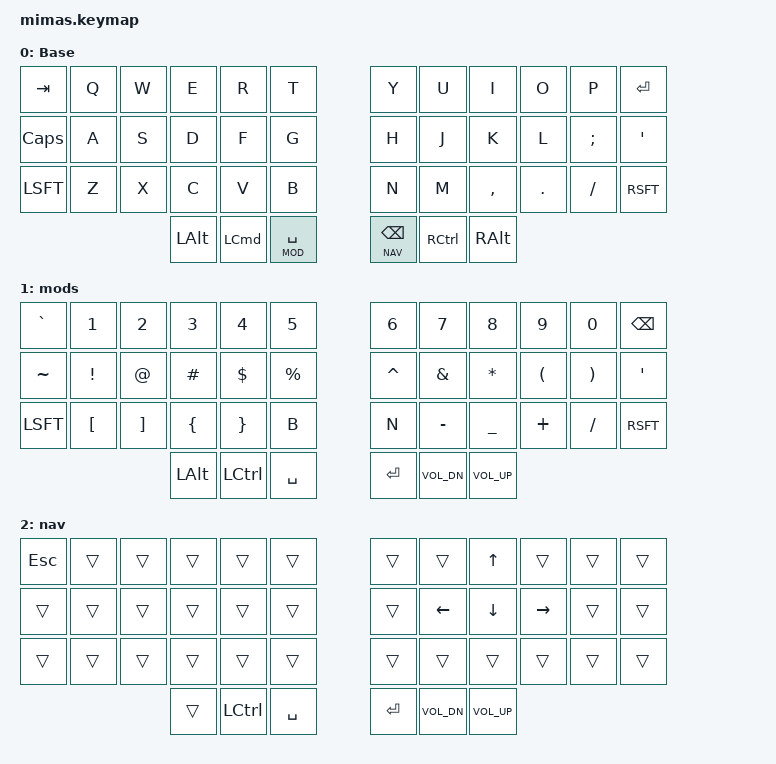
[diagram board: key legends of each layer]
#include <behaviors.dtsi>
#include <dt-bindings/zmk/keys.h>
#include <dt-bindings/zmk/bt.h>
#include <dt-bindings/zmk/outputs.h>

#define DEFAULT 0
#define MOD     1
#define NAV     2

/ {
     
        keymap {
                compatible = "zmk,keymap";

                default_layer {
// ┏━━━━━━━━━━━━━━━━━━━━━━━━━━━━━━━━━━━━━━━┓
display-name = "Base"                      ;
// ┗━━━━━━━━━━━━━━━━━━━━━━━━━━━━━━━━━━━━━━━┛
// ┏━━━━━━━━━━━┳━━━━━━━━━━━┳━━━━━━━━━━━┳━━━━━━━━━━━┳━━━━━━━━━━━┳━━━━━━━━━━━┓   ┏━━━━━━━━━━━┳━━━━━━━━━━━┳━━━━━━━━━━━┳━━━━━━━━━━━┳━━━━━━━━━━━┳━━━━━━━━━━━┓
// ┃    TAB    ┃     Q     ┃     W     ┃     E     ┃     R     ┃     T     ┃   ┃     Y     ┃     U     ┃     I     ┃     O     ┃     P     ┃    BSPC   ┃
// ┣━━━━━━━━━━━┣━━━━━━━━━━━┣━━━━━━━━━━━┣━━━━━━━━━━━╋━━━━━━━━━━━╋━━━━━━━━━━━┫   ┣━━━━━━━━━━━╋━━━━━━━━━━━╋━━━━━━━━━━━╋━━━━━━━━━━━┻━━━━━━━━━━━┻━━━━━━━━━━━┃
// ┃    CAPS   ┃     A     ┃     S     ┃     D     ┃     F     ┃     G     ┃   ┃     H     ┃     J     ┃     K     ┃     L     ┃     ;     ┃     '     ┃
// ┣━━━━━━━━━━━┣━━━━━━━━━━━┣━━━━━━━━━━━┣━━━━━━━━━━━╋━━━━━━━━━━━╋━━━━━━━━━━━┫   ┣━━━━━━━━━━━╋━━━━━━━━━━━╋━━━━━━━━━━━╋━━━━━━━━━━━┻━━━━━━━━━━━┻━━━━━━━━━━━┛
// ┃   LSHFT   ┃     Z     ┃     X     ┃     C     ┃     V     ┃     B     ┃   ┃     N     ┃     M     ┃     ,     ┃     .     ┃     /     ┃   RSHFT   ┃
// ┗━━━━━━━━━━━┣━━━━━━━━━━━╋━━━━━━━━━━━┣━━━━━━━━━━━╋━━━━━━━━━━━╋━━━━━━━━━━━┫   ┣━━━━━━━━━━━╋━━━━━━━━━━━╋━━━━━━━━━━━╋━━━━━━━━━━━╋━━━━━━━━━━━┻━━━━━━━━━━━┛
//                         ┃   LCTRL   ┃    LALT   ┃   SPACE   ┃                           ┃   ENTER   ┃    RALT   ┃   RCTRL   ┃
//                         ┗━━━━━━━━━━━┻━━━━━━━━━━━┻━━━━━━━━━━━┻                           ┗━━━━━━━━━━━┻━━━━━━━━━━━┻━━━━━━━━━━━┻
 bindings = <
// ╷           ╷           ╷           ╷           ╷           ╷           ╷   ╷           ╷           ╷           ╷           ╷           ╷           ╷

    &kp TAB     &kp Q       &kp W       &kp E       &kp R       &kp T           &kp Y       &kp U       &kp I       &kp O       &kp P       &kp ENTER
    &kp CAPS    &kp A       &kp S       &kp D       &kp F       &kp G           &kp H       &kp J       &kp K       &kp L       &kp SEMI    &kp SQT
    &kp LSFT    &kp Z       &kp X       &kp C       &kp V       &kp B           &kp N       &kp M       &kp COMMA   &kp DOT     &kp SLASH   &kp RSFT
                            &kp LALT    &kp LCMD    &lt MOD SPACE                           &lt NAV BSPC    &kp RCTRL   &kp RALT   
                        >;
                };

                mods {
// ┏━━━━━━━━━━━━━━━━━━━━━━━━━━━━━━━━━━━━━━━┓
display-name = "mods"                      ;
// ┗━━━━━━━━━━━━━━━━━━━━━━━━━━━━━━━━━━━━━━━┛
// ┏━━━━━━━━━━━┳━━━━━━━━━━━┳━━━━━━━━━━━┳━━━━━━━━━━━┳━━━━━━━━━━━┳━━━━━━━━━━━┓   ┏━━━━━━━━━━━┳━━━━━━━━━━━┳━━━━━━━━━━━┳━━━━━━━━━━━┳━━━━━━━━━━━┳━━━━━━━━━━━┓
// ┃     `     ┃     1     ┃     2     ┃     3     ┃     4     ┃     5     ┃   ┃     6     ┃     7     ┃     8     ┃     9     ┃     0     ┃    BSPC   ┃
// ┣━━━━━━━━━━━┣━━━━━━━━━━━┣━━━━━━━━━━━┣━━━━━━━━━━━╋━━━━━━━━━━━╋━━━━━━━━━━━┫   ┣━━━━━━━━━━━╋━━━━━━━━━━━╋━━━━━━━━━━━╋━━━━━━━━━━━┻━━━━━━━━━━━┻━━━━━━━━━━━┃
// ┃     ~     ┃     !     ┃     @     ┃     #     ┃     $     ┃     %     ┃   ┃     ^     ┃     &     ┃     *     ┃     (     ┃     )     ┃     '     ┃
// ┣━━━━━━━━━━━┣━━━━━━━━━━━┣━━━━━━━━━━━┣━━━━━━━━━━━╋━━━━━━━━━━━╋━━━━━━━━━━━┫   ┣━━━━━━━━━━━╋━━━━━━━━━━━╋━━━━━━━━━━━╋━━━━━━━━━━━┻━━━━━━━━━━━┻━━━━━━━━━━━┛
// ┃   LSHFT   ┃     [     ┃     ]     ┃     {     ┃     }     ┃     B     ┃   ┃     N     ┃     -     ┃     _     ┃     =     ┃     +     ┃   RSHFT   ┃
// ┗━━━━━━━━━━━┣━━━━━━━━━━━╋━━━━━━━━━━━┣━━━━━━━━━━━╋━━━━━━━━━━━╋━━━━━━━━━━━┫   ┣━━━━━━━━━━━╋━━━━━━━━━━━╋━━━━━━━━━━━╋━━━━━━━━━━━╋━━━━━━━━━━━┻━━━━━━━━━━━┛
//                         ┃   LCTRL   ┃    LALT   ┃   SPACE   ┃                           ┃   ENTER   ┃    RALT   ┃   RCTRL   ┃
//                         ┗━━━━━━━━━━━┻━━━━━━━━━━━┻━━━━━━━━━━━┻                           ┗━━━━━━━━━━━┻━━━━━━━━━━━┻━━━━━━━━━━━┻
 bindings = <
// ╷           ╷           ╷           ╷           ╷           ╷           ╷   ╷           ╷           ╷           ╷           ╷           ╷           ╷

    &kp GRAVE   &kp N1      &kp N2      &kp N3      &kp N4      &kp N5          &kp N6      &kp N7      &kp N8      &kp N9      &kp N0      &kp BSPC
    &kp TILDE   &kp EXCL    &kp AT      &kp HASH    &kp DLLR    &kp PRCNT       &kp CARET   &kp AMPS    &kp STAR    &kp LPAR    &kp RPAR    &kp SQT
    &kp LSFT    &kp LBKT    &kp RBKT    &kp LBRC    &kp RBRC    &kp B           &kp N       &kp MINUS   &kp UNDER   &kp PLUS    &kp SLASH   &kp RSFT
                            &kp LALT    &kp LCTRL   &kp SPACE                               &kp ENTER   &kp C_VOL_DN &kp C_VOL_UP   
                        >;
                };

                nav {
// ┏━━━━━━━━━━━━━━━━━━━━━━━━━━━━━━━━━━━━━━━┓
display-name = "nav"                      ;
// ┗━━━━━━━━━━━━━━━━━━━━━━━━━━━━━━━━━━━━━━━┛
// ┏━━━━━━━━━━━┳━━━━━━━━━━━┳━━━━━━━━━━━┳━━━━━━━━━━━┳━━━━━━━━━━━┳━━━━━━━━━━━┓   ┏━━━━━━━━━━━┳━━━━━━━━━━━┳━━━━━━━━━━━┳━━━━━━━━━━━┳━━━━━━━━━━━┳━━━━━━━━━━━┓
// ┃     `     ┃     1     ┃     2     ┃     3     ┃     4     ┃     5     ┃   ┃     6     ┃     7     ┃     8     ┃     9     ┃     0     ┃    BSPC   ┃
// ┣━━━━━━━━━━━┣━━━━━━━━━━━┣━━━━━━━━━━━┣━━━━━━━━━━━╋━━━━━━━━━━━╋━━━━━━━━━━━┫   ┣━━━━━━━━━━━╋━━━━━━━━━━━╋━━━━━━━━━━━╋━━━━━━━━━━━┻━━━━━━━━━━━┻━━━━━━━━━━━┃
// ┃     ~     ┃     !     ┃     @     ┃     #     ┃     $     ┃     %     ┃   ┃     ^     ┃     &     ┃     *     ┃     (     ┃     )     ┃     '     ┃
// ┣━━━━━━━━━━━┣━━━━━━━━━━━┣━━━━━━━━━━━┣━━━━━━━━━━━╋━━━━━━━━━━━╋━━━━━━━━━━━┫   ┣━━━━━━━━━━━╋━━━━━━━━━━━╋━━━━━━━━━━━╋━━━━━━━━━━━┻━━━━━━━━━━━┻━━━━━━━━━━━┛
// ┃   LSHFT   ┃     [     ┃     ]     ┃     {     ┃     }     ┃     B     ┃   ┃     N     ┃     -     ┃     _     ┃     =     ┃     +     ┃   RSHFT   ┃
// ┗━━━━━━━━━━━┣━━━━━━━━━━━╋━━━━━━━━━━━┣━━━━━━━━━━━╋━━━━━━━━━━━╋━━━━━━━━━━━┫   ┣━━━━━━━━━━━╋━━━━━━━━━━━╋━━━━━━━━━━━╋━━━━━━━━━━━╋━━━━━━━━━━━┻━━━━━━━━━━━┛
//                         ┃   LCTRL   ┃    LALT   ┃   SPACE   ┃                           ┃   ENTER   ┃    RALT   ┃   RCTRL   ┃
//                         ┗━━━━━━━━━━━┻━━━━━━━━━━━┻━━━━━━━━━━━┻                           ┗━━━━━━━━━━━┻━━━━━━━━━━━┻━━━━━━━━━━━┻
 bindings = <
// ╷           ╷           ╷           ╷           ╷           ╷           ╷   ╷           ╷           ╷           ╷           ╷           ╷           ╷

    &kp ESC     &trans      &trans      &trans      &trans      &trans          &trans      &trans      &kp UP      &trans      &trans      &trans
    &trans   &trans    &trans      &trans    &trans    &trans       &trans   &kp LEFT    &kp DOWN    &kp RIGHT    &trans    &trans
    &trans    &trans    &trans    &trans    &trans    &trans           &trans       &trans   &trans   &trans    &trans   &trans
                            &trans    &kp LCTRL   &kp SPACE                               &kp ENTER   &kp C_VOL_DN &kp C_VOL_UP   
                        >;
                };
        };
};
